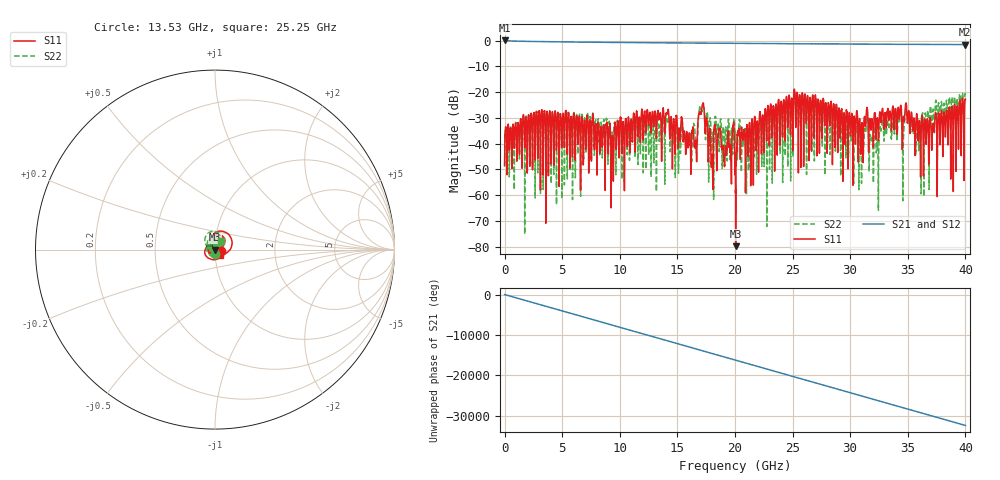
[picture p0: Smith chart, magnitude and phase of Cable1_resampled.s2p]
# MHz MA S R 50.0
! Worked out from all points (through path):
!   8000 points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, 5 MHz to 40 GHz, reference 50 ohm
!   highest |S21| = 0.03 dB at 5 MHz (marker M1); lowest = -1.6 dB at 39.99 GHz (marker M2)
!   group delay of S21, straight-line fit = 2.25 ns
!   lowest |S11| = -79.8 dB at 20.06 GHz (marker M3), VSWR 1.00, Z = 50 - j0.00615 ohm
!   |S11| at or under -10 dB: start of sweep to end of sweep
!   |S22| runs from -75.2 to -19.8 dB; largest |S21 - S12| = 0.0082
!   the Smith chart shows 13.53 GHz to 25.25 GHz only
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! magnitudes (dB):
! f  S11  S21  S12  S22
! 5 MHz  -48.4  0.0  0.0  -49.1
! 2.885 GHz  -45.8  -0.4  -0.4  -51.3
! 6.675 GHz  -30.6  -0.6  -0.6  -30.8
! 9.365 GHz  -38.0  -0.7  -0.7  -38.9
! 9.7 GHz  -42.2  -0.7  -0.7  -38.4
! 13.34 GHz  -28.1  -0.9  -0.9  -30.3
! 16.56 GHz  -39.9  -1.0  -1.0  -37.4
! 17.14 GHz  -25.7  -1.0  -1.0  -27.4
! 17.89 GHz  -40.9  -1.0  -1.0  -32.1
! 20 GHz  -49.5  -1.1  -1.1  -35.4
! 20.06 GHz  -79.8  -1.1  -1.1  -36.9
! 21.11 GHz  -39.9  -1.1  -1.1  -37.5
! 25.27 GHz  -33.8  -1.2  -1.2  -27.4
! 26.67 GHz  -27.9  -1.3  -1.3  -35.1
! 30.53 GHz  -29.2  -1.4  -1.4  -35.4
! 30.94 GHz  -38.8  -1.4  -1.4  -41.3
! 31.39 GHz  -28.3  -1.4  -1.4  -32.9
! 31.83 GHz  -33.2  -1.4  -1.4  -38.5
! 33.34 GHz  -29.8  -1.4  -1.4  -32.5
! 36.23 GHz  -29.0  -1.5  -1.5  -30.1
! 39.99 GHz  -22.7  -1.6  -1.6  -20.7
! 40 GHz  -22.9  -1.6  -1.6  -21.0
